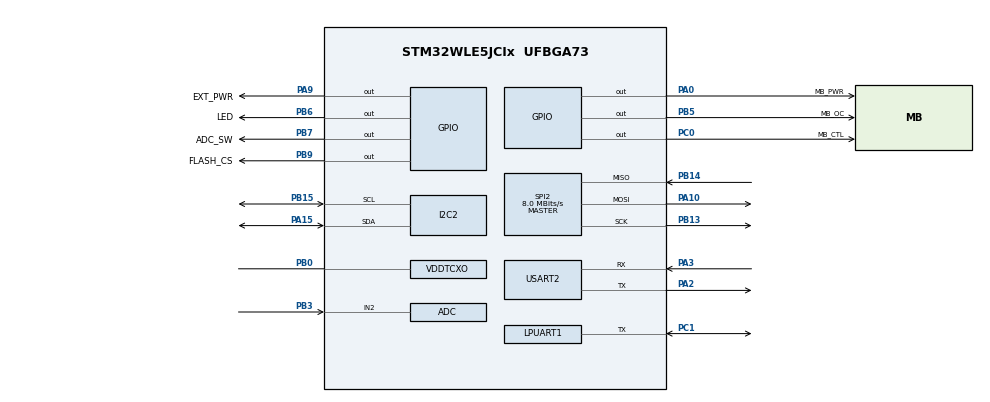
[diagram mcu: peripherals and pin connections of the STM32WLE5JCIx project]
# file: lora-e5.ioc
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ADC.NbrOfConversion=1
ADC.SelectedChannel=ADC_CHANNEL_2|ADC_CHANNEL_VREFINT
FREERTOS.Mutexes01=UartMutex,Dynamic,NULL;SpiMutex,Dynamic,NULL;I2cMutex,Dynamic,NULL;RtcMutex,Dynamic,NULL
FREERTOS.Queues01=xQueue1,100,uint16_t,0,Dynamic,NULL,NULL
FREERTOS.Tasks01=terminalTask,0,128,terminalTaskHandler,Default,NULL,Dynamic,NULL,NULL
FREERTOS.configUSE_IDLE_HOOK=1
FREERTOS.configUSE_NEWLIB_REENTRANT=1
FREERTOS.configUSE_TIMERS=1
I2C2.Timing=0x20303E5D
Mcu.Family=STM32WL
Mcu.Name=STM32WLE5JCIx
Mcu.Package=UFBGA73
NVIC.PriorityGroup=NVIC_PRIORITYGROUP_4
NVIC.TIM1_UP_IRQn=true\:15\:0\:false\:false\:true\:false\:false\:true\:true
NVIC.TimeBase=TIM1_UP_IRQn
NVIC.TimeBaseIP=TIM1
NVIC.USART2_IRQn=true\:5\:0\:false\:false\:true\:true\:true\:true\:true
OSC_IN.Mode=HSE-TCXO
OSC_IN.Signal=RCC_OSC_IN
PA0.GPIO_Label=MB_PWR
PA0.Signal=GPIO_Output
PA10.GPIO_PuPd=GPIO_PULLUP
PA10.Mode=Full_Duplex_Master
PA10.Signal=SPI2_MOSI
PA13.Mode=Serial_Wire
PA13.Signal=DEBUG_JTMS-SWDIO
PA14.Mode=Serial_Wire
PA14.Signal=DEBUG_JTCK-SWCLK
PA15.Mode=I2C
PA15.Signal=I2C2_SDA
PA2.Mode=Asynchronous
PA2.Signal=USART2_TX
PA3.Mode=Asynchronous
PA3.Signal=USART2_RX
PA9.GPIO_Label=EXT_PWR
PA9.Signal=GPIO_Output
PB0-VDD_TCXO.Mode=HSE-TCXO
PB0-VDD_TCXO.Signal=VDDTCXO
PB13.GPIO_PuPd=GPIO_PULLUP
PB13.Mode=Full_Duplex_Master
PB13.Signal=SPI2_SCK
PB14.GPIO_PuPd=GPIO_PULLUP
PB14.Mode=Full_Duplex_Master
PB14.Signal=SPI2_MISO
PB15.Mode=I2C
PB15.Signal=I2C2_SCL
PB3.Mode=IN2
PB3.Signal=ADC_IN2
PB5.GPIO_Label=MB_OC
PB5.Signal=GPIO_Output
PB6.GPIO_Label=LED
PB6.Signal=GPIO_Output
PB7.GPIO_Label=ADC_SW
PB7.Signal=GPIO_Output
PB9.GPIO_Label=FLASH_CS
PB9.Signal=GPIO_Output
PC0.GPIO_Label=MB_CTL
PC0.Signal=GPIO_Output
PC1.Mode=Half_duplex(single_wire_mode)
PC1.Signal=LPUART1_TX
PC14-OSC32_IN.Mode=LSE-External-Oscillator
PC14-OSC32_IN.Signal=RCC_OSC32_IN
PC15-OSC32_OUT.Mode=LSE-External-Oscillator
PC15-OSC32_OUT.Signal=RCC_OSC32_OUT
ProjectManager.HeapSize=0x200
ProjectManager.StackSize=0x400
ProjectManager.TargetToolchain=STM32CubeIDE
RCC.AHBFreq_Value=48000000
RCC.APB1Freq_Value=48000000
RCC.APB1TimFreq_Value=48000000
RCC.APB2Freq_Value=48000000
RCC.APB2TimFreq_Value=48000000
RCC.APB3Freq_Value=48000000
RCC.CortexFreq_Value=48000000
RCC.HCLKFreq_Value=48000000
RCC.HSE_VALUE=8000000
RCC.HSI_VALUE=16000000
RCC.LSE_VALUE=32768
RCC.MSIClockRange=RCC_MSIRANGE_11
RCC.SYSCLKFreq_VALUE=48000000
RCC.VCOOutputFreq_Value=384000000
RTC.Alarm-Alarm\ A=RTC_ALARM_A
SPI2.CalculateBaudRate=8.0 MBits/s
SPI2.DataSize=SPI_DATASIZE_8BIT
SPI2.Direction=SPI_DIRECTION_2LINES
SPI2.Mode=SPI_MODE_MASTER
SPI2.NSSPMode=SPI_NSS_PULSE_DISABLE
SPI2.VirtualType=VM_MASTER
USART2.VirtualMode-Asynchronous=VM_ASYNC
VP_ADC_Vref_Input.Mode=IN-Vrefint
VP_FREERTOS_VS_CMSIS_V1.Mode=CMSIS_V1
VP_RTC_VS_RTC_Activate.Mode=RTC_Enabled
VP_RTC_VS_RTC_Alarm_A_Intern.Mode=Alarm A
VP_RTC_VS_RTC_Calendar.Mode=RTC_Calendar
VP_SYS_VS_tim1.Mode=TIM1
board=custom

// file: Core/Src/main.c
/* USER CODE BEGIN Header */
/**
 ******************************************************************************
 * @file           : main.c
 * @brief          : Main program body
 ******************************************************************************
 * @attention
 *
 * Copyright (c) 2023 STMicroelectronics.
 * All rights reserved.
 *
 * This software is licensed under terms that can be found in the LICENSE file
 * in the root directory of this software component.
 * If no LICENSE file comes with this software, it is provided AS-IS.
 *
 ******************************************************************************
 */
/* USER CODE END Header */
#include "main.h"
#include "cmsis_os.h"

/* USER CODE BEGIN Includes */
#include <string.h>
#include "ExtFlash.h"
#include "core/flash.h"
#include "drivers/flash/internal/stm32wlxx_flash_driver.h"
#include "drivers/flash/external/w25q80dv_flash_driver.h"
#include "path.h"
#include "date_time.h"
#include "resource_manager.h"
#include "iap_user_settings.h"
#include "error.h"
#include "Uart.h"
/* USER CODE END Includes */

ADC_HandleTypeDef hadc;

I2C_HandleTypeDef hi2c2;

UART_HandleTypeDef hlpuart1;
UART_HandleTypeDef huart2;

RTC_HandleTypeDef hrtc;

SPI_HandleTypeDef hspi2;

osThreadId terminalTaskHandle;
osMessageQId xQueue1Handle;
osMutexId UartMutexHandle;
osMutexId SpiMutexHandle;
osMutexId I2cMutexHandle;
osMutexId RtcMutexHandle;
/* USER CODE BEGIN PV */
osMutexId iapMutexHandle;
osThreadId ledTaskHandle;
osThreadId uartUserTaskHandle;

const uint8_t* pemIapSignPublicKey;
size_t pemIapSignPublicKeyLen;
/* USER CODE END PV */

void SystemClock_Config(void);
void MX_GPIO_Init(void);
static void MX_ADC_Init(void);
static void MX_LPUART1_UART_Init(void);
static void MX_USART2_UART_Init(void);
static void MX_RTC_Init(void);
static void MX_SPI2_Init(void);
static void MX_I2C2_Init(void);
void terminalTaskHandler(void const * argument);

/* USER CODE BEGIN PFP */
void ledTaskHandler(void const * argument);
void uartUserTaskHandler(void const * argument);
int __io_putchar(int ch);
/* USER CODE END PFP */

/* USER CODE BEGIN 0 */

bool updateDevice()
{
	uint8_t c;
	bool status = false;
	bool bootReady = false;
	serialPutStr("OK\n");

    do
    {
    	if(HAL_UART_Receive(&huart2, &c, 1, 100) == HAL_OK)
		{
    		switch(c)
    		{
    		case 'a':
    			status = true;
    			bootReady = true;
    			break;

    		case 'b':
    			status = false;
    			bootReady = true;
    			break;
    		default:
    			serialPutStr("Unknown Command\n");
    			break;
    		}
		}
    }while(!bootReady);

	return status;
}

int __io_putchar(int ch)
{
	uint8_t c;

	c = (uint8_t)ch;

	if(HAL_UART_Transmit(&huart2, &c, 1, 100) == HAL_OK)
		return ch;
	else
		return -1;
	return -1;
}

/**
 * @brief Led task routine (for debug purpose)
 **/

void ledTaskHandler(void const * argument)
{
	while(1)
	{
		HAL_GPIO_WritePin(LED_GPIO_Port, LED_Pin, GPIO_PIN_SET);
		osDelay(100);
		HAL_GPIO_WritePin(LED_GPIO_Port, LED_Pin, GPIO_PIN_RESET);
		osDelay(900);
	}
}

/**
 * @brief Load user RSA public key from "res.c".
 * "res.c" is a C array file system representing the demo folder "resources/keys".
 **/

error_t iapUserLoadKeys(void)
{
	error_t error;

	//Get server's private key
	error = resGetData(IAP_PUBLIC_SIGN_KEY, (const uint8_t **) &pemIapSignPublicKey,
			&pemIapSignPublicKeyLen);
	//Any error to report?
	if(error)
		return error;

	//Successful process
	return NO_ERROR;
}

/* USER CODE END 0 */

int main(void)
{
	/* USER CODE BEGIN 1 */
#if defined(IAP_SCENARIO_3)
	error_t error;
#endif
	/* USER CODE END 1 */

	/* MCU Configuration--------------------------------------------------------*/

	/* Reset of all peripherals, Initializes the Flash interface and the Systick. */
	HAL_Init();

	/* Configure the system clock */
	SystemClock_Config();

	/* Initialize all configured peripherals */
	MX_GPIO_Init();
	MX_ADC_Init();
	MX_LPUART1_UART_Init();
	MX_USART2_UART_Init();
	MX_RTC_Init();
	MX_SPI2_Init();
	MX_I2C2_Init();

	/* USER CODE BEGIN 2 */

#if defined (IAP_SCENARIO_3)
	//Load IAP public signature key
	error = iapUserLoadKeys();
	if (error)
	{
		//Debug message
		TRACE_ERROR("Failed to load IAP user keys!\r\n");
		return error;
	}
#endif

	/* USER CODE END 2 */

	/* Create the mutex(es) */
	/* definition and creation of UartMutex */
	osMutexDef(UartMutex);
	UartMutexHandle = osMutexCreate(osMutex(UartMutex));

	/* definition and creation of SpiMutex */
	osMutexDef(SpiMutex);
	SpiMutexHandle = osMutexCreate(osMutex(SpiMutex));

	/* definition and creation of I2cMutex */
	osMutexDef(I2cMutex);
	I2cMutexHandle = osMutexCreate(osMutex(I2cMutex));

	/* definition and creation of RtcMutex */
	osMutexDef(RtcMutex);
	RtcMutexHandle = osMutexCreate(osMutex(RtcMutex));

	/* USER CODE BEGIN RTOS_MUTEX */
	/* add mutexes, ... */

	// definition and creation of iapMutex */
	osMutexDef(iapMutex);
	iapMutexHandle = osMutexCreate(osMutex(iapMutex));

	/* USER CODE END RTOS_MUTEX */

	/* Create the queue(s) */
	/* definition and creation of xQueue1 */
	osMessageQDef(xQueue1, 100, uint16_t);
	xQueue1Handle = osMessageCreate(osMessageQ(xQueue1), NULL);

	/* Create the thread(s) */
	/* definition and creation of terminalTask */

	/* USER CODE BEGIN RTOS_THREADS */
	/* add threads, ... */

	// definition and creation of uartUserTask

//	if(updateDevice())
//	{
//		osThreadDef(uartUserTask, uartUserTaskHandler, osPriorityNormal, 0, 500);
//		uartUserTaskHandle = osThreadCreate(osThread(uartUserTask), NULL);
//
//		// definition and creation of ledTask
//		osThreadDef(ledTask, ledTaskHandler, osPriorityNormal, 0, 128);
//		ledTaskHandle = osThreadCreate(osThread(ledTask), NULL);
//	}
//	else
//	{
//		osThreadDef(terminalTask, terminalTaskHandler, osPriorityNormal, 0, 500);
//		terminalTaskHandle = osThreadCreate(osThread(terminalTask), NULL);
//	}

	osThreadDef(terminalTask, terminalTaskHandler, osPriorityNormal, 0, 500);
	terminalTaskHandle = osThreadCreate(osThread(terminalTask), NULL);

	/* USER CODE END RTOS_THREADS */

	/* Start scheduler */
	osKernelStart();
	/* We should never get here as control is now taken by the scheduler */
	/* Infinite loop */
	while (1)
	{

	}
}

void SystemClock_Config(void)
{
  RCC_OscInitTypeDef RCC_OscInitStruct = {0};
  RCC_ClkInitTypeDef RCC_ClkInitStruct = {0};

  /** Configure the main internal regulator output voltage
  */
  __HAL_PWR_VOLTAGESCALING_CONFIG(PWR_REGULATOR_VOLTAGE_SCALE1);

  /** Initializes the CPU, AHB and APB buses clocks
  */
  RCC_OscInitStruct.OscillatorType = RCC_OSCILLATORTYPE_HSI|RCC_OSCILLATORTYPE_LSI
                              |RCC_OSCILLATORTYPE_MSI;
  RCC_OscInitStruct.HSIState = RCC_HSI_ON;
  RCC_OscInitStruct.MSIState = RCC_MSI_ON;
  RCC_OscInitStruct.HSICalibrationValue = RCC_HSICALIBRATION_DEFAULT;
  RCC_OscInitStruct.MSICalibrationValue = RCC_MSICALIBRATION_DEFAULT;
  RCC_OscInitStruct.MSIClockRange = RCC_MSIRANGE_11;
  RCC_OscInitStruct.LSIDiv = RCC_LSI_DIV1;
  RCC_OscInitStruct.LSIState = RCC_LSI_ON;
  RCC_OscInitStruct.PLL.PLLState = RCC_PLL_NONE;
  if (HAL_RCC_OscConfig(&RCC_OscInitStruct) != HAL_OK)
  {
    Error_Handler();
  }

  /** Configure the SYSCLKSource, HCLK, PCLK1 and PCLK2 clocks dividers
  */
  RCC_ClkInitStruct.ClockType = RCC_CLOCKTYPE_HCLK3|RCC_CLOCKTYPE_HCLK
                              |RCC_CLOCKTYPE_SYSCLK|RCC_CLOCKTYPE_PCLK1
                              |RCC_CLOCKTYPE_PCLK2;
  RCC_ClkInitStruct.SYSCLKSource = RCC_SYSCLKSOURCE_MSI;
  RCC_ClkInitStruct.AHBCLKDivider = RCC_SYSCLK_DIV1;
  RCC_ClkInitStruct.APB1CLKDivider = RCC_HCLK_DIV1;
  RCC_ClkInitStruct.APB2CLKDivider = RCC_HCLK_DIV1;
  RCC_ClkInitStruct.AHBCLK3Divider = RCC_SYSCLK_DIV1;

  if (HAL_RCC_ClockConfig(&RCC_ClkInitStruct, FLASH_LATENCY_2) != HAL_OK)
  {
    Error_Handler();
  }
}

static void MX_ADC_Init(void)
{

	/** Configure the global features of the ADC (Clock, Resolution, Data Alignment and number of conversion)
	 */
	hadc.Instance = ADC;
	hadc.Init.ClockPrescaler = ADC_CLOCK_SYNC_PCLK_DIV4;
	hadc.Init.Resolution = ADC_RESOLUTION_12B;
	hadc.Init.DataAlign = ADC_DATAALIGN_RIGHT;
	hadc.Init.ScanConvMode = ADC_SCAN_DISABLE;
	hadc.Init.EOCSelection = ADC_EOC_SINGLE_CONV;
	hadc.Init.LowPowerAutoWait = DISABLE;
	hadc.Init.LowPowerAutoPowerOff = DISABLE;
	hadc.Init.ContinuousConvMode = DISABLE;
	hadc.Init.NbrOfConversion = 1;
	hadc.Init.DiscontinuousConvMode = DISABLE;
	hadc.Init.ExternalTrigConv = ADC_SOFTWARE_START;
	hadc.Init.ExternalTrigConvEdge = ADC_EXTERNALTRIGCONVEDGE_NONE;
	hadc.Init.DMAContinuousRequests = DISABLE;
	hadc.Init.Overrun = ADC_OVR_DATA_OVERWRITTEN;
	hadc.Init.SamplingTimeCommon1 = ADC_SAMPLETIME_39CYCLES_5;
	hadc.Init.SamplingTimeCommon2 = ADC_SAMPLETIME_39CYCLES_5;
	hadc.Init.OversamplingMode = DISABLE;
	hadc.Init.TriggerFrequencyMode = ADC_TRIGGER_FREQ_HIGH;
	if (HAL_ADC_Init(&hadc) != HAL_OK)
	{
		Error_Handler();
	}
	/* USER CODE BEGIN ADC_Init 2 */
	 GPIO_InitTypeDef GPIO_InitStruct = {0};
	__HAL_RCC_ADC_CLK_ENABLE();
	__HAL_RCC_GPIOB_CLK_ENABLE();
	GPIO_InitStruct.Pin = GPIO_PIN_4;
	GPIO_InitStruct.Mode = GPIO_MODE_ANALOG;
	GPIO_InitStruct.Pull = GPIO_NOPULL;
	HAL_GPIO_Init(GPIOB, &GPIO_InitStruct);
	/* USER CODE END ADC_Init 2 */

}

static void MX_I2C2_Init(void)
{

	hi2c2.Instance = I2C2;
	hi2c2.Init.Timing = 0x20303E5D;
	hi2c2.Init.OwnAddress1 = 0;
	hi2c2.Init.AddressingMode = I2C_ADDRESSINGMODE_7BIT;
	hi2c2.Init.DualAddressMode = I2C_DUALADDRESS_DISABLE;
	hi2c2.Init.OwnAddress2 = 0;
	hi2c2.Init.OwnAddress2Masks = I2C_OA2_NOMASK;
	hi2c2.Init.GeneralCallMode = I2C_GENERALCALL_DISABLE;
	hi2c2.Init.NoStretchMode = I2C_NOSTRETCH_DISABLE;
	if (HAL_I2C_Init(&hi2c2) != HAL_OK)
	{
		Error_Handler();
	}

	/** Configure Analogue filter
	 */
	if (HAL_I2CEx_ConfigAnalogFilter(&hi2c2, I2C_ANALOGFILTER_ENABLE) != HAL_OK)
	{
		Error_Handler();
	}

	/** Configure Digital filter
	 */
	if (HAL_I2CEx_ConfigDigitalFilter(&hi2c2, 0) != HAL_OK)
	{
		Error_Handler();
	}

}

static void MX_LPUART1_UART_Init(void)
{

  hlpuart1.Instance = LPUART1;
  hlpuart1.Init.BaudRate = 9600;
  hlpuart1.Init.WordLength = UART_WORDLENGTH_8B;
  hlpuart1.Init.StopBits = UART_STOPBITS_1;
  hlpuart1.Init.Parity = UART_PARITY_NONE;
  hlpuart1.Init.Mode = UART_MODE_RX;
  hlpuart1.Init.HwFlowCtl = UART_HWCONTROL_NONE;
  hlpuart1.Init.OneBitSampling = UART_ONE_BIT_SAMPLE_DISABLE;
  hlpuart1.Init.ClockPrescaler = UART_PRESCALER_DIV1;
  hlpuart1.AdvancedInit.AdvFeatureInit = UART_ADVFEATURE_SWAP_INIT;
  hlpuart1.AdvancedInit.Swap = UART_ADVFEATURE_SWAP_ENABLE;
  if (HAL_HalfDuplex_Init(&hlpuart1) != HAL_OK)
  {
    Error_Handler();
  }
  if (HAL_UARTEx_SetTxFifoThreshold(&hlpuart1, UART_TXFIFO_THRESHOLD_1_8) != HAL_OK)
  {
    Error_Handler();
  }
  if (HAL_UARTEx_SetRxFifoThreshold(&hlpuart1, UART_RXFIFO_THRESHOLD_1_8) != HAL_OK)
  {
    Error_Handler();
  }
  if (HAL_UARTEx_EnableFifoMode(&hlpuart1) != HAL_OK)
  {
    Error_Handler();
  }

}

static void MX_USART2_UART_Init(void)
{

	huart2.Instance = USART2;
	huart2.Init.BaudRate = 115200;
	huart2.Init.WordLength = UART_WORDLENGTH_8B;
	huart2.Init.StopBits = UART_STOPBITS_1;
	huart2.Init.Parity = UART_PARITY_NONE;
	huart2.Init.Mode = UART_MODE_TX_RX;
	huart2.Init.HwFlowCtl = UART_HWCONTROL_NONE;
	huart2.Init.OverSampling = UART_OVERSAMPLING_16;
	huart2.Init.OneBitSampling = UART_ONE_BIT_SAMPLE_DISABLE;
	huart2.Init.ClockPrescaler = UART_PRESCALER_DIV1;
	huart2.AdvancedInit.AdvFeatureInit = UART_ADVFEATURE_NO_INIT;
	if (HAL_UART_Init(&huart2) != HAL_OK)
	{
		Error_Handler();
	}
	if (HAL_UARTEx_SetTxFifoThreshold(&huart2, UART_TXFIFO_THRESHOLD_1_8) != HAL_OK)
	{
		Error_Handler();
	}
	if (HAL_UARTEx_SetRxFifoThreshold(&huart2, UART_RXFIFO_THRESHOLD_1_8) != HAL_OK)
	{
		Error_Handler();
	}
	if (HAL_UARTEx_DisableFifoMode(&huart2) != HAL_OK)
	{
		Error_Handler();
	}

}

static void MX_RTC_Init(void)
{

	RTC_TimeTypeDef sTime = {0};
	RTC_DateTypeDef sDate = {0};
	RTC_AlarmTypeDef sAlarm = {0};

	/** Initialize RTC Only
	 */
	hrtc.Instance = RTC;
	hrtc.Init.HourFormat = RTC_HOURFORMAT_24;
	hrtc.Init.AsynchPrediv = 127;
	hrtc.Init.SynchPrediv = 255;
	hrtc.Init.OutPut = RTC_OUTPUT_DISABLE;
	hrtc.Init.OutPutRemap = RTC_OUTPUT_REMAP_NONE;
	hrtc.Init.OutPutPolarity = RTC_OUTPUT_POLARITY_HIGH;
	hrtc.Init.OutPutType = RTC_OUTPUT_TYPE_OPENDRAIN;
	hrtc.Init.OutPutPullUp = RTC_OUTPUT_PULLUP_NONE;
	hrtc.Init.BinMode = RTC_BINARY_NONE;
	if (HAL_RTC_Init(&hrtc) != HAL_OK)
	{
		Error_Handler();
	}

	/** Initialize RTC and set the Time and Date
	 */
	sTime.Hours = 0x0;
	sTime.Minutes = 0x0;
	sTime.Seconds = 0x0;
	sTime.DayLightSaving = RTC_DAYLIGHTSAVING_NONE;
	sTime.StoreOperation = RTC_STOREOPERATION_RESET;
	if (HAL_RTC_SetTime(&hrtc, &sTime, RTC_FORMAT_BCD) != HAL_OK)
	{
		Error_Handler();
	}
	sDate.WeekDay = RTC_WEEKDAY_MONDAY;
	sDate.Month = RTC_MONTH_JANUARY;
	sDate.Date = 0x1;
	sDate.Year = 0x0;

	if (HAL_RTC_SetDate(&hrtc, &sDate, RTC_FORMAT_BCD) != HAL_OK)
	{
		Error_Handler();
	}

	/** Enable the Alarm A
	 */
	sAlarm.AlarmTime.Hours = 0x0;
	sAlarm.AlarmTime.Minutes = 0x0;
	sAlarm.AlarmTime.Seconds = 0x0;
	sAlarm.AlarmTime.SubSeconds = 0x0;
	sAlarm.AlarmTime.DayLightSaving = RTC_DAYLIGHTSAVING_NONE;
	sAlarm.AlarmTime.StoreOperation = RTC_STOREOPERATION_RESET;
	sAlarm.AlarmMask = RTC_ALARMMASK_NONE;
	sAlarm.AlarmSubSecondMask = RTC_ALARMSUBSECONDMASK_ALL;
	sAlarm.AlarmDateWeekDaySel = RTC_ALARMDATEWEEKDAYSEL_DATE;
	sAlarm.AlarmDateWeekDay = 0x1;
	sAlarm.Alarm = RTC_ALARM_A;
	if (HAL_RTC_SetAlarm(&hrtc, &sAlarm, RTC_FORMAT_BCD) != HAL_OK)
	{
		Error_Handler();
	}

}

static void MX_SPI2_Init(void)
{

	/* SPI2 parameter configuration*/
	hspi2.Instance = SPI2;
	hspi2.Init.Mode = SPI_MODE_MASTER;
	hspi2.Init.Direction = SPI_DIRECTION_2LINES;
	hspi2.Init.DataSize = SPI_DATASIZE_8BIT;
	hspi2.Init.CLKPolarity = SPI_POLARITY_LOW;
	hspi2.Init.CLKPhase = SPI_PHASE_1EDGE;
	hspi2.Init.NSS = SPI_NSS_SOFT;
	hspi2.Init.BaudRatePrescaler = SPI_BAUDRATEPRESCALER_2;
	hspi2.Init.FirstBit = SPI_FIRSTBIT_MSB;
	hspi2.Init.TIMode = SPI_TIMODE_DISABLE;
	hspi2.Init.CRCCalculation = SPI_CRCCALCULATION_DISABLE;
	hspi2.Init.CRCPolynomial = 7;
	hspi2.Init.CRCLength = SPI_CRC_LENGTH_DATASIZE;
	hspi2.Init.NSSPMode = SPI_NSS_PULSE_DISABLE;
	if (HAL_SPI_Init(&hspi2) != HAL_OK)
	{
		Error_Handler();
	}

}

void MX_GPIO_Init(void)
{
	GPIO_InitTypeDef GPIO_InitStruct = {0};

	/* GPIO Ports Clock Enable */
	__HAL_RCC_GPIOA_CLK_ENABLE();
	__HAL_RCC_GPIOB_CLK_ENABLE();
	__HAL_RCC_GPIOC_CLK_ENABLE();

	/*Configure GPIO pin Output Level */
	HAL_GPIO_WritePin(GPIOB, ADC_SW_Pin|FLASH_CS_Pin|MB_OC_Pin|LED_Pin, GPIO_PIN_RESET);

	/*Configure GPIO pin Output Level */
	HAL_GPIO_WritePin(GPIOA, MB_PWR_Pin|EXT_PWR_Pin, GPIO_PIN_SET);

	/*Configure GPIO pin Output Level */
	HAL_GPIO_WritePin(MB_CTL_GPIO_Port, MB_CTL_Pin, GPIO_PIN_RESET);

	/*Configure GPIO pins : ADC_SW_Pin FLASH_CS_Pin MB_OC_Pin LED_Pin */
	GPIO_InitStruct.Pin = ADC_SW_Pin|FLASH_CS_Pin|MB_OC_Pin|LED_Pin;
	GPIO_InitStruct.Mode = GPIO_MODE_OUTPUT_PP;
	GPIO_InitStruct.Pull = GPIO_NOPULL;
	GPIO_InitStruct.Speed = GPIO_SPEED_FREQ_LOW;
	HAL_GPIO_Init(GPIOB, &GPIO_InitStruct);

	/*Configure GPIO pins : MB_PWR_Pin EXT_PWR_Pin */
	GPIO_InitStruct.Pin = MB_PWR_Pin|EXT_PWR_Pin;
	GPIO_InitStruct.Mode = GPIO_MODE_OUTPUT_PP;
	GPIO_InitStruct.Pull = GPIO_NOPULL;
	GPIO_InitStruct.Speed = GPIO_SPEED_FREQ_LOW;
	HAL_GPIO_Init(GPIOA, &GPIO_InitStruct);

	/*Configure GPIO pin : MB_CTL_Pin */
	GPIO_InitStruct.Pin = MB_CTL_Pin;
	GPIO_InitStruct.Mode = GPIO_MODE_OUTPUT_PP;
	GPIO_InitStruct.Pull = GPIO_NOPULL;
	GPIO_InitStruct.Speed = GPIO_SPEED_FREQ_LOW;
	HAL_GPIO_Init(MB_CTL_GPIO_Port, &GPIO_InitStruct);

}

/* USER CODE BEGIN 4 */
void rTosDelay(uint32_t Delay)
{
	osDelay(Delay);
}

ADC_HandleTypeDef *Get_AdcHandle(void)
{
	return &hadc;
}

UART_HandleTypeDef *Get_DebugHandle(void)
{
	return &huart2;
}

UART_HandleTypeDef *Get_SonarHandle(void)
{
	return &hlpuart1;;
}

RTC_HandleTypeDef  *Get_RtcHandle(void)
{
	return &hrtc;
}

SPI_HandleTypeDef   *Get_SpiHandle(void)
{
	return &hspi2;
}

I2C_HandleTypeDef   *Get_I2cHandle(void)
{
	return &hi2c2;
}

osMutexId  Get_UartMutexHandle(void)
{
	return UartMutexHandle;
}

osMutexId  Get_SpiMutexHandle(void)
{
	return SpiMutexHandle;;
}

osMutexId  Get_I2cMutexHandle(void)
{
	return I2cMutexHandle;;
}

osMutexId  Get_RtcMutexHandle(void)
{
	return RtcMutexHandle;;
}

osMessageQId Get_TerminalQueueHandle(void)
{
	return xQueue1Handle;;
}

/* USER CODE END 4 */

void HAL_TIM_PeriodElapsedCallback(TIM_HandleTypeDef *htim)
{
	if (htim->Instance == TIM1) {
		HAL_IncTick();
	}
}

void Error_Handler(void)
{
	__disable_irq();
	while (1)
	{
	}
}

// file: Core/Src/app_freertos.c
/* USER CODE BEGIN Header */
/**
  ******************************************************************************
  * File Name          : app_freertos.c
  * Description        : Code for freertos applications
  ******************************************************************************
  * @attention
  *
  * Copyright (c) 2023 STMicroelectronics.
  * All rights reserved.
  *
  * This software is licensed under terms that can be found in the LICENSE file
  * in the root directory of this software component.
  * If no LICENSE file comes with this software, it is provided AS-IS.
  *
  ******************************************************************************
  */
/* USER CODE END Header */

#include "FreeRTOS.h"
#include "task.h"
#include "main.h"

/* GetIdleTaskMemory prototype (linked to static allocation support) */
void vApplicationGetIdleTaskMemory( StaticTask_t **ppxIdleTaskTCBBuffer, StackType_t **ppxIdleTaskStackBuffer, uint32_t *pulIdleTaskStackSize );

/* GetTimerTaskMemory prototype (linked to static allocation support) */
void vApplicationGetTimerTaskMemory( StaticTask_t **ppxTimerTaskTCBBuffer, StackType_t **ppxTimerTaskStackBuffer, uint32_t *pulTimerTaskStackSize );

/* Hook prototypes */
void vApplicationIdleHook(void);

/* USER CODE BEGIN 2 */
__weak void vApplicationIdleHook( void )
{
   /* vApplicationIdleHook() will only be called if configUSE_IDLE_HOOK is set
   to 1 in FreeRTOSConfig.h. It will be called on each iteration of the idle
   task. It is essential that code added to this hook function never attempts
   to block in any way (for example, call xQueueReceive() with a block time
   specified, or call vTaskDelay()). If the application makes use of the
   vTaskDelete() API function (as this demo application does) then it is also
   important that vApplicationIdleHook() is permitted to return to its calling
   function, because it is the responsibility of the idle task to clean up
   memory allocated by the kernel to any task that has since been deleted. */
}
/* USER CODE END 2 */

/* USER CODE BEGIN GET_IDLE_TASK_MEMORY */
static StaticTask_t xIdleTaskTCBBuffer;
static StackType_t xIdleStack[configMINIMAL_STACK_SIZE];

void vApplicationGetIdleTaskMemory( StaticTask_t **ppxIdleTaskTCBBuffer, StackType_t **ppxIdleTaskStackBuffer, uint32_t *pulIdleTaskStackSize )
{
  *ppxIdleTaskTCBBuffer = &xIdleTaskTCBBuffer;
  *ppxIdleTaskStackBuffer = &xIdleStack[0];
  *pulIdleTaskStackSize = configMINIMAL_STACK_SIZE;
  /* place for user code */
}
/* USER CODE END GET_IDLE_TASK_MEMORY */

/* USER CODE BEGIN GET_TIMER_TASK_MEMORY */
static StaticTask_t xTimerTaskTCBBuffer;
static StackType_t xTimerStack[configTIMER_TASK_STACK_DEPTH];

void vApplicationGetTimerTaskMemory( StaticTask_t **ppxTimerTaskTCBBuffer, StackType_t **ppxTimerTaskStackBuffer, uint32_t *pulTimerTaskStackSize )
{
  *ppxTimerTaskTCBBuffer = &xTimerTaskTCBBuffer;
  *ppxTimerTaskStackBuffer = &xTimerStack[0];
  *pulTimerTaskStackSize = configTIMER_TASK_STACK_DEPTH;
  /* place for user code */
}
/* USER CODE END GET_TIMER_TASK_MEMORY */

/* USER CODE BEGIN Application */

/**
 * @brief FreeRTOS stackoverflow detection callback
 **/

void vApplicationStackOverflowHook( TaskHandle_t xTask,
                                    signed char *pcTaskName )
{
	fprintf(stderr, "Stack overflow in task '%s'!\r\n", pcTaskName);
	taskDISABLE_INTERRUPTS();
	while(1);
}

/**
 * @brief FreeRTOS memory allocation failed detection callback
 **/

void vApplicationMallocFailedHook( void )
{
	fprintf(stderr, "OS memory allocation failed!\r\n");
	taskDISABLE_INTERRUPTS();
	while(1);
}

/* USER CODE END Application */
